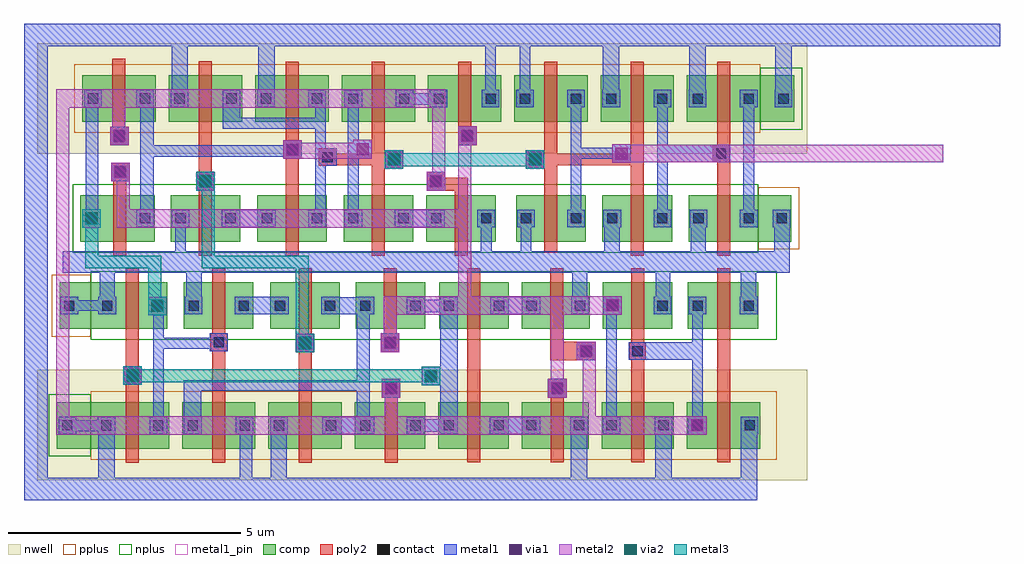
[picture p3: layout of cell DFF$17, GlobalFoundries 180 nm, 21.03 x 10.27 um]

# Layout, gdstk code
from math import pi, radians
import gdstk
lib = gdstk.Library(unit=1e-6, precision=5e-09)
def R(c, l, rs):  # rectangles x0, y0, x1, y1
    for r in rs: c.add(gdstk.rectangle(r[:2], r[2:], *l))
def A(c, l, x, y, w, h, nx, ny, dx, dy):  # array of equal rectangles
    R(c, l, [(x+i*dx, y+j*dy, x+i*dx+w, y+j*dy+h) for i in range(nx) for j in range(ny)])
def P(c, l, *ps):  # polygons
    for p in ps: c.add(gdstk.Polygon(p, *l))
nwell = (21, 0)
comp = (22, 0)
poly2 = (30, 0)
pplus = (31, 0)
nplus = (32, 0)
contact = (33, 0)
metal1 = (34, 0)
metal1_pin = (34, 10)
via1 = (35, 0)
metal2 = (36, 0)
via2 = (38, 0)
metal3 = (42, 0)

via_dev_1_17 = lib.new_cell('via_dev$1$17')
R(via_dev_1_17, poly2, [(0,0,0.4,0.4)])
R(via_dev_1_17, contact, [(0.09,0.09,0.31,0.31)])
R(via_dev_1_17, metal1, [(0,0,0.4,0.4)])
R(via_dev_1_17, via1, [(0.07,0.07,0.33,0.33)])
R(via_dev_1_17, metal2, [(0,0,0.4,0.4)])

via_dev_23 = lib.new_cell('via_dev$23')
R(via_dev_23, metal1, [(0,0,0.4,0.4)])
R(via_dev_23, via1, [(0.07,0.07,0.33,0.33)])
R(via_dev_23, metal2, [(0,0,0.4,0.4)])

via_dev_3_17 = lib.new_cell('via_dev$3$17')
R(via_dev_3_17, poly2, [(0,0,0.4,0.4)])
R(via_dev_3_17, contact, [(0.09,0.09,0.31,0.31)])
R(via_dev_3_17, metal1, [(0,0,0.4,0.4)])
R(via_dev_3_17, via1, [(0.07,0.07,0.33,0.33)])
R(via_dev_3_17, metal2, [(0,0,0.4,0.4)])
R(via_dev_3_17, via2, [(0.07,0.07,0.33,0.33)])
R(via_dev_3_17, metal3, [(0,0,0.4,0.4)])

via_dev_2_17 = lib.new_cell('via_dev$2$17')
R(via_dev_2_17, metal1, [(0,0,0.4,0.4)])
R(via_dev_2_17, via1, [(0.07,0.07,0.33,0.33)])
R(via_dev_2_17, metal2, [(0,0,0.4,0.4)])
R(via_dev_2_17, via2, [(0.07,0.07,0.33,0.33)])
R(via_dev_2_17, metal3, [(0,0,0.4,0.4)])

dff_17 = lib.new_cell('DFF$17')
R(dff_17, nwell, [(12.8,-4.97,29.385,-2.59), (12.8,2.065,29.385,4.445)])
A(dff_17, comp, 14.515, -4.29, 0.66, 1, 3, 2, 1.86, 2.585)
A(dff_17, comp, 23.535, 0.175, 0.66, 1, 3, 1, 1.86, 0)
A(dff_17, comp, 17.955, 2.755, 0.66, 1, 6, 1, 1.86, 0)
R(dff_17, comp, [(13.215,-4.29,13.945,-3.285), (13.945,-4.29,14.515,-3.29), (15.175,-4.29,15.635,-3.29), (15.915,-4.29,16.375,-3.29), (17.035,-4.29,17.495,-3.29), (17.775,-4.29,18.235,-3.29), (18.895,-4.29,19.355,-3.29), (19.635,-4.29,20.095,-3.29), (20.095,-4.29,20.7,-3.29), (20.7,-4.29,21.155,-3.29), (21.435,-4.285,21.9,-3.285), (21.9,-4.285,22.51,-3.285), (22.51,-4.285,22.95,-3.285), (23.23,-4.285,23.67,-3.285), (23.67,-4.285,24.24,-3.285), (24.24,-4.285,24.68,-3.285), (24.96,-4.285,25.4,-3.285), (25.4,-4.285,26.06,-3.285), (26.06,-4.285,26.51,-3.285), (26.795,-4.285,27.255,-3.285), (27.255,-4.285,27.915,-3.285), (27.915,-4.285,28.375,-3.285), (13.275,-1.705,13.945,-0.705), (13.945,-1.705,14.515,-0.705), (15.175,-1.705,15.595,-0.705), (15.955,-1.705,16.375,-0.705), (17.035,-1.705,17.455,-0.705), (17.815,-1.705,18.235,-0.705), (18.895,-1.705,19.315,-0.705), (19.655,-1.705,20.075,-0.705), (20.075,-1.705,20.735,-0.705), (20.735,-1.705,21.155,-0.705), (21.455,-1.705,21.875,-0.705), (21.875,-1.705,22.535,-0.705), (22.535,-1.705,22.955,-0.705), (23.235,-1.705,23.655,-0.705), (23.655,-1.705,24.28,-0.705), (24.28,-1.705,24.7,-0.705), (24.98,-1.705,25.4,-0.705), (25.4,-1.705,26.06,-0.705), (26.06,-1.705,26.48,-0.705), (26.815,-1.705,27.255,-0.705), (27.255,-1.705,27.915,-0.705), (27.915,-1.705,28.335,-0.705), (13.72,0.175,14.245,1.175), (14.245,0.175,14.905,1.175), (14.905,0.175,15.325,1.175), (15.67,0.175,16.09,1.175), (16.09,0.175,16.75,1.175), (16.75,0.175,17.17,1.175), (17.535,0.175,17.955,1.175), (17.955,0.175,18.615,1.175), (18.615,0.175,19.035,1.175), (19.395,0.175,19.815,1.175), (19.815,0.175,20.475,1.175), (20.475,0.175,20.895,1.175), (21.18,0.175,21.6,1.175), (21.6,0.175,22.26,1.175), (22.26,0.175,22.68,1.175), (23.115,0.175,23.535,1.175), (24.195,0.175,24.615,1.175), (24.975,0.175,25.395,1.175), (26.055,0.175,26.475,1.175), (26.835,0.175,27.255,1.175), (27.915,0.175,28.335,1.175), (28.335,0.175,29.045,1.175), (17.495,2.755,17.955,3.755), (18.615,2.755,19.075,3.755), (19.355,2.755,19.815,3.755), (20.475,2.755,20.935,3.755), (21.215,2.755,21.675,3.755), (22.335,2.755,22.795,3.755), (23.075,2.755,23.535,3.755), (24.195,2.755,24.655,3.755), (24.935,2.755,25.395,3.755), (26.055,2.755,26.515,3.755), (26.795,2.755,27.255,3.755), (27.915,2.755,28.375,3.755), (28.375,2.755,29.105,3.755), (13.765,2.76,14.225,3.76), (14.225,2.76,14.885,3.76), (14.885,2.76,15.345,3.76), (15.63,2.76,16.09,3.76), (16.09,2.76,16.75,3.76), (16.75,2.76,17.21,3.76)])
A(dff_17, poly2, 14.705, -4.59, 0.28, 1.6, 3, 1, 1.86, 0)
A(dff_17, poly2, 18.145, 2.455, 0.28, 1.6, 6, 1, 1.86, 0)
R(dff_17, poly2, [(20.285,-4.59,20.565,-3.185), (22.065,-4.585,22.345,-2.985), (23.86,-4.585,24.14,-2.985), (25.59,-4.585,25.87,-2.985), (27.445,-4.585,27.725,-2.985), (14.705,-2.99,14.985,-2.5), (16.565,-2.99,16.845,-2.175), (18.425,-2.99,18.705,-2.005), (22.065,-2.985,22.345,-2.365), (25.59,-2.985,25.87,-2.365), (27.445,-2.985,27.725,-2.365), (14.705,-2.5,14.985,-0.405), (23.845,-2.385,24.125,-0.405), (24.125,-2.385,24.425,-1.985), (22.065,-2.365,22.345,-0.405), (25.55,-2.365,25.91,-2.005), (27.445,-2.365,27.725,-0.405), (16.525,-2.175,16.885,-1.815), (18.425,-2.005,18.705,-0.405), (25.59,-2.005,25.87,-0.405), (16.565,-1.815,16.845,-0.405), (20.265,-1.805,20.545,-0.405), (14.435,-0.125,14.715,1.475), (16.28,-0.125,16.56,1.475), (18.145,-0.125,18.425,1.475), (20.005,-0.125,20.285,1.53), (21.79,-0.125,22.07,1.555), (25.585,-0.125,25.865,1.875), (27.445,-0.125,27.725,1.895), (23.725,-0.07,24.005,1.89), (21.585,1.275,21.79,1.555), (16.28,1.475,16.56,2.46), (18.145,1.475,18.425,2.455), (20.005,1.53,20.285,2.455), (18.865,1.81,19.245,2.19), (19.245,1.825,20.005,2.065), (24.005,1.825,25.585,2.065), (25.585,1.875,25.865,2.455), (23.725,1.89,24.005,2.455), (27.355,1.895,27.715,2.255), (27.445,2.255,27.725,2.455), (14.415,2.46,14.695,4.11), (16.28,2.46,16.56,4.06)])
A(dff_17, pplus, 13.945, -4.53, 1.86, 1.48, 3, 1, 1.86, 0)
R(dff_17, pplus, [(19.525,-4.53,21.285,-3.05), (21.285,-4.525,23.09,-3.045), (23.09,-4.525,24.85,-3.045), (24.85,-4.525,26.625,-3.045), (26.625,-4.525,28.725,-3.045), (13.105,-1.875,13.945,-0.535), (28.335,0.005,29.215,1.345), (17.38,2.515,19.245,3.995), (19.245,2.515,21.045,3.995), (21.045,2.515,22.94,3.995), (22.94,2.515,24.655,3.995), (24.655,2.515,26.515,3.995), (26.515,2.515,28.375,3.995), (13.595,2.52,15.475,4), (15.475,2.52,17.38,4)])
R(dff_17, nplus, [(13.045,-4.455,13.945,-3.115), (13.945,-1.945,15.765,-0.465), (15.765,-1.945,17.625,-0.465), (17.625,-1.945,19.485,-0.465), (19.485,-1.945,21.285,-0.465), (21.285,-1.945,23.095,-0.465), (23.095,-1.945,24.81,-0.465), (24.81,-1.945,26.665,-0.465), (26.665,-1.945,28.725,-0.465), (13.56,-0.065,15.495,1.415), (15.495,-0.065,17.34,1.415), (17.34,-0.065,19.225,1.415), (19.225,-0.065,21.01,1.415), (21.01,-0.065,22.825,1.415), (22.825,-0.065,24.615,1.415), (24.615,-0.065,26.475,1.415), (26.475,-0.065,28.335,1.415), (28.375,2.585,29.275,3.925)])
R(dff_17, contact, [(14.175,-3.9,14.395,-3.68), (15.295,-3.9,15.515,-3.68), (16.035,-3.9,16.255,-3.68), (17.155,-3.9,17.375,-3.68), (17.895,-3.9,18.115,-3.68), (19.015,-3.9,19.235,-3.68), (19.755,-3.9,19.975,-3.68), (20.835,-3.9,21.055,-3.68), (13.335,-3.895,13.555,-3.675), (21.555,-3.895,21.775,-3.675), (22.63,-3.895,22.85,-3.675), (23.33,-3.895,23.55,-3.675), (24.36,-3.895,24.58,-3.675), (25.06,-3.895,25.28,-3.675), (26.18,-3.895,26.4,-3.675), (26.915,-3.895,27.135,-3.675), (28.035,-3.895,28.255,-3.675), (25.62,-2.295,25.84,-2.075), (16.595,-2.105,16.815,-1.885), (13.375,-1.315,13.595,-1.095), (14.195,-1.315,14.415,-1.095), (15.275,-1.315,15.495,-1.095), (16.055,-1.315,16.275,-1.095), (17.135,-1.315,17.355,-1.095), (17.915,-1.315,18.135,-1.095), (18.995,-1.315,19.215,-1.095), (19.755,-1.315,19.975,-1.095), (20.835,-1.315,21.055,-1.095), (21.555,-1.315,21.775,-1.095), (22.635,-1.315,22.855,-1.095), (23.335,-1.315,23.555,-1.095), (24.38,-1.315,24.6,-1.095), (25.08,-1.315,25.3,-1.095), (26.16,-1.315,26.38,-1.095), (26.915,-1.315,27.135,-1.095), (28.015,-1.315,28.235,-1.095), (13.855,0.565,14.075,0.785), (15.005,0.565,15.225,0.785), (15.77,0.565,15.99,0.785), (16.85,0.565,17.07,0.785), (17.635,0.565,17.855,0.785), (18.715,0.565,18.935,0.785), (19.495,0.565,19.715,0.785), (20.575,0.565,20.795,0.785), (21.28,0.565,21.5,0.785), (22.36,0.565,22.58,0.785), (23.215,0.565,23.435,0.785), (24.295,0.565,24.515,0.785), (25.075,0.565,25.295,0.785), (26.155,0.565,26.375,0.785), (26.935,0.565,27.155,0.785), (28.015,0.565,28.235,0.785), (28.725,0.565,28.945,0.785), (18.94,1.885,19.16,2.105), (27.425,1.965,27.645,2.185), (19.495,3.145,19.715,3.365), (20.595,3.145,20.815,3.365), (21.335,3.145,21.555,3.365), (22.455,3.145,22.675,3.365), (23.195,3.145,23.415,3.365), (24.295,3.145,24.515,3.365), (25.055,3.145,25.275,3.365), (26.155,3.145,26.375,3.365), (26.915,3.145,27.135,3.365), (28.015,3.145,28.235,3.365), (28.765,3.145,28.985,3.365), (13.885,3.15,14.105,3.37), (15.005,3.15,15.225,3.37), (15.75,3.15,15.97,3.37), (16.87,3.15,17.09,3.37), (17.615,3.15,17.835,3.37), (18.715,3.15,18.935,3.37)])
A(dff_17, metal1, 24.29, 0.865, 0.23, 2.2, 3, 1, 1.86, 0)
R(dff_17, metal1, [(12.51,-5.4,28.305,-4.915), (12.51,-4.915,13.025,4.385), (14.115,-4.915,14.465,-3.98), (17.16,-4.915,17.43,-3.6), (17.825,-4.915,18.175,-3.98), (24.295,-4.915,24.645,-3.975), (26.115,-4.915,26.465,-3.975), (27.955,-4.915,28.305,-3.93), (14.095,-3.98,14.475,-3.6), (15.215,-3.98,15.595,-3.6), (15.29,-3.98,15.52,-1.015), (15.955,-3.98,16.335,-3.6), (17.075,-3.98,17.455,-3.6), (17.815,-3.98,18.195,-3.6), (18.935,-3.98,19.315,-3.6), (19.315,-3.98,19.675,-3.6), (19.675,-3.98,20.055,-3.6), (20.755,-3.98,21.135,-3.6), (13.255,-3.975,13.635,-3.595), (21.475,-3.975,21.855,-3.595), (21.475,-3.975,21.855,-1.015), (22.55,-3.975,22.93,-3.595), (22.93,-3.975,23.25,-3.595), (23.25,-3.975,23.63,-3.595), (24.28,-3.975,24.66,-3.595), (24.98,-3.975,25.36,-3.595), (26.1,-3.975,26.48,-3.595), (26.835,-3.975,27.215,-3.595), (27.955,-3.975,28.335,-3.595), (21.135,-3.925,21.475,-3.655), (13.635,-3.91,14.095,-3.68), (15.95,-3.6,16.33,-3.04), (19.675,-3.6,19.965,-1.395), (25.055,-3.595,25.285,-1.395), (26.91,-3.595,27.14,-1.395), (15.95,-3.04,19.675,-2.81), (25.54,-2.375,25.92,-1.995), (25.92,-2.375,26.91,-1.995), (16.515,-2.185,16.895,-1.805), (15.52,-2.13,16.515,-1.9), (13.295,-1.395,13.675,-1.015), (14.115,-1.395,14.495,-1.015), (15.195,-1.395,15.575,-1.015), (15.975,-1.395,16.355,-1.015), (17.055,-1.395,17.435,-1.015), (17.435,-1.395,17.835,-1.015), (17.835,-1.395,18.215,-1.015), (18.915,-1.395,19.295,-1.015), (19.295,-1.395,19.675,-1.02), (19.675,-1.395,20.055,-1.015), (20.755,-1.395,21.135,-1.015), (21.475,-1.395,21.855,-1.015), (22.555,-1.395,22.935,-1.015), (22.935,-1.395,23.255,-1.015), (23.255,-1.395,23.635,-1.015), (24.3,-1.395,24.68,-1.015), (25,-1.395,25.38,-1.015), (26.08,-1.395,26.46,-1.015), (26.835,-1.395,27.215,-1.015), (27.935,-1.395,28.315,-1.015), (21.135,-1.35,21.475,-1.08), (13.675,-1.315,14.115,-1.085), (14.14,-1.015,14.47,-0.495), (16.005,-1.015,16.335,-0.495), (24.32,-1.015,24.65,-0.495), (26.12,-1.015,26.435,-0.495), (27.955,-1.015,28.285,-0.495), (13.345,-0.495,29.01,-0.265), (13.345,-0.265,29.01,-0.035), (15.765,-0.035,15.995,0.485), (22.355,-0.035,22.585,0.485), (23.21,-0.035,23.44,0.485), (25.015,-0.035,25.345,0.485), (26.875,-0.035,27.205,0.485), (28.68,-0.035,29.01,0.485), (13.775,0.485,14.155,0.865), (14.925,0.485,15.305,0.865), (15.69,0.485,16.07,0.865), (16.77,0.485,17.15,0.865), (17.15,0.485,17.555,0.865), (17.555,0.485,17.935,0.865), (18.635,0.485,19.015,0.865), (19.415,0.485,19.795,0.865), (20.495,0.485,20.875,0.865), (20.875,0.485,21.2,0.865), (21.2,0.485,21.58,0.865), (22.28,0.485,22.66,0.865), (23.135,0.485,23.515,0.865), (24.215,0.485,24.595,0.865), (24.995,0.485,25.375,0.865), (26.075,0.485,26.455,0.865), (26.855,0.485,27.235,0.865), (27.935,0.485,28.315,0.865), (28.645,0.485,29.025,0.865), (13.845,0.865,14.115,3.07), (15.015,0.865,15.305,3.07), (18.785,0.865,19.015,3.07), (19.49,0.865,19.72,3.065), (18.865,1.81,19.245,2.19), (26.38,1.885,27.345,2.265), (27.345,1.885,27.725,2.265), (24.52,1.965,25.185,2.195), (15.305,2,18.095,2.255), (16.79,2.61,18.785,2.84), (16.79,2.84,17.17,3.07), (19.415,3.065,19.795,3.44), (20.515,3.065,20.895,3.445), (21.255,3.065,21.635,3.445), (22.375,3.065,22.755,3.445), (23.115,3.065,23.495,3.445), (24.215,3.065,24.595,3.445), (24.975,3.065,25.355,3.445), (26.075,3.065,26.455,3.445), (26.835,3.065,27.215,3.445), (27.935,3.065,28.315,3.445), (28.685,3.065,29.065,3.445), (13.805,3.07,14.185,3.45), (14.925,3.07,15.305,3.45), (15.67,3.07,16.05,3.45), (16.79,3.07,17.17,3.45), (17.535,3.07,17.915,3.45), (18.635,3.07,19.015,3.45), (20.895,3.12,21.255,3.37), (28.7,3.4,29.05,4.385), (22.45,3.445,22.68,4.385), (23.19,3.445,23.42,4.385), (24.985,3.445,25.335,4.385), (26.845,3.445,27.195,4.385), (15.69,3.45,16.04,4.385), (17.56,3.45,17.91,4.385), (12.51,4.385,33.54,4.87)])
P(dff_17, metal1_pin, [(20.17,-1.73),(20.17,-1.73),(20.17,-1.73),(20.17,-1.73)])
R(dff_17, metal2, [(13.205,-3.985,26.82,-3.585), (13.205,-3.585,13.485,3.055), (20.285,-3.585,20.565,-3.175), (24.545,-3.585,24.825,-2.385), (23.865,-2.785,24.145,-1.4), (20.265,-1.805,20.545,-1.4), (20.265,-1.4,24.99,-1), (21.865,-1,22.145,2.255), (14.505,0.47,22.145,0.87), (14.505,0.87,14.785,1.475), (21.305,1.675,21.585,3.055), (25.585,1.885,32.315,2.265), (18.495,1.965,19.605,2.3), (14.415,2.65,14.695,3.055), (13.205,3.055,21.585,3.455)])
R(dff_17, metal3, [(15.05,-2.855,21.075,-2.575), (18.365,-1.81,18.645,-0.405), (15.185,-1.01,15.465,-0.405), (13.825,-0.405,15.465,-0.125), (16.34,-0.405,18.645,-0.125), (13.825,-0.125,14.105,0.475), (16.34,-0.125,16.62,1.275), (20.685,1.8,23.325,2.08)])
dff_17.add(gdstk.Reference(via_dev_1_17, (14.385,1.475)))
dff_17.add(gdstk.Reference(via_dev_1_17, (21.185,1.275)))
dff_17.add(gdstk.Reference(via_dev_23, (19.605,1.965)))
dff_17.add(gdstk.Reference(via_dev_1_17, (14.365,2.65), x_reflection=True))
dff_17.add(gdstk.Reference(via_dev_1_17, (21.865,2.255)))
dff_17.add(gdstk.Reference(via_dev_3_17, (16.22,1.275)))
dff_17.add(gdstk.Reference(via_dev_1_17, (18.095,1.955)))
dff_17.add(gdstk.Reference(via_dev_3_17, (20.285,1.745)))
dff_17.add(gdstk.Reference(via_dev_3_17, (23.325,1.745)))
dff_17.add(gdstk.Reference(via_dev_23, (25.185,1.87)))
dff_17.add(gdstk.Reference(via_dev_1_17, (24.2,-2.785), rotation=pi))
dff_17.add(gdstk.Reference(via_dev_23, (27.22,-3.585), rotation=pi))
dff_17.add(gdstk.Reference(via_dev_23, (25.39,-1), rotation=pi))
dff_17.add(gdstk.Reference(via_dev_1_17, (20.62,-2.785), rotation=pi))
dff_17.add(gdstk.Reference(via_dev_1_17, (20.6,-1.805), rotation=pi))
dff_17.add(gdstk.Reference(via_dev_3_17, (18.765,-1.81), rotation=pi))
dff_17.add(gdstk.Reference(via_dev_2_17, (21.475,-2.525), rotation=pi))
dff_17.add(gdstk.Reference(via_dev_3_17, (15.05,-2.51), rotation=pi))
dff_17.add(gdstk.Reference(via_dev_2_17, (14.165,0.875), rotation=pi))
dff_17.add(gdstk.Reference(via_dev_2_17, (15.585,-1.01), rotation=pi))
dff_17.add(gdstk.Reference(via_dev_1_17, (24.825,-1.985), rotation=pi))

lib.write_gds('DFF_17.gds')
